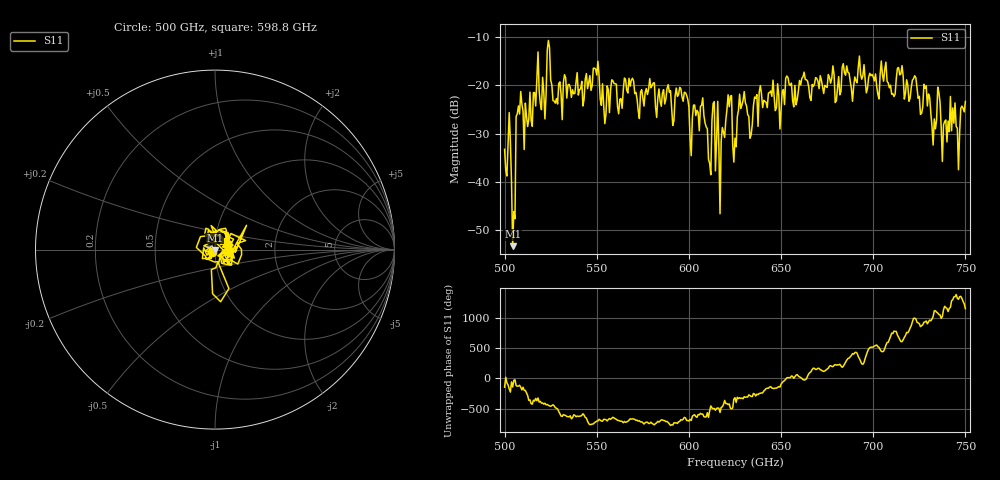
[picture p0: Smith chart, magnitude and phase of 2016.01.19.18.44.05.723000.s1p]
!Created with skrf (http://scikit-rf.org).
# GHz S RI R 50.0
!freq ReS11 ImS11
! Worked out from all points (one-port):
!   401 points, 500 GHz to 750 GHz, reference 50 ohm
!   lowest |S11| = -53.3 dB at 504.4 GHz (marker M1), VSWR 1.00, Z = 49.8 - j0.133 ohm
!   |S11| at or under -10 dB: start of sweep to end of sweep
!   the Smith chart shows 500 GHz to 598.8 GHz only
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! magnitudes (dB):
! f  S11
! 500 GHz  -33.2
! 502.5 GHz  -25.6
! 504.4 GHz  -53.3
! 507.5 GHz  -24.3
! 520.6 GHz  -18.3
! 524.4 GHz  -12.2
! 527.5 GHz  -23.7
! 531.2 GHz  -27.1
! 549.4 GHz  -16.6
! 553.8 GHz  -24.1
! 559.4 GHz  -19.6
! 562.5 GHz  -22.9
! 568.8 GHz  -18.9
! 593.8 GHz  -22.3
! 601.2 GHz  -34.6
! 607.5 GHz  -22.6
! 610.6 GHz  -35.3
! 614.4 GHz  -37.7
! 615.6 GHz  -23.3
! 621.9 GHz  -24.4
! 625 GHz  -30.9
! 628.8 GHz  -24.1
! 633.1 GHz  -31.0
! 656.2 GHz  -23.1
! 687.5 GHz  -19.1
! 718.8 GHz  -19.9
! 738.8 GHz  -27.5
! 750 GHz  -23.3
